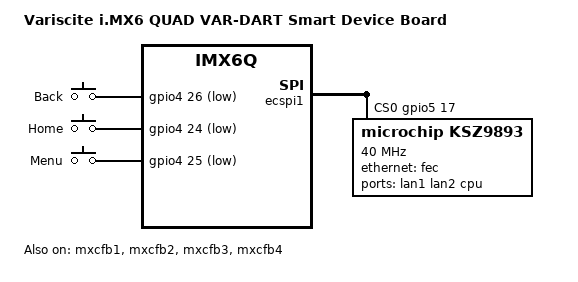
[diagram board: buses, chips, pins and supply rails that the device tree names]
/*
 * Copyright (C) 2015-2017 Variscite Ltd.
 *
 * This program is free software; you can redistribute it and/or modify
 * it under the terms of the GNU General Public License version 2 as
 * published by the Free Software Foundation.
 */

/dts-v1/;

#include "imx6q.dtsi"
#include "imx6qdl-iris2.dtsi"
#include "imx6qdl-var-solocb-dt6cb-displays.dtsi"

/ {
	model = "Variscite i.MX6 QUAD VAR-DART Smart Device Board";
	compatible = "fsl,imx6q-var-dart", "fsl,imx6q";

	gpio-keys {
		compatible = "gpio-keys";
		back {
			label = "Back";
			gpios = <&gpio4 26 1>;
			linux,code = <KEY_BACK>;
			gpio-key,wakeup;
		};
		home {
			label = "Home";
			gpios = <&gpio4 24 1>;
			linux,code = <KEY_HOMEPAGE>;
			gpio-key,wakeup;
		};
		menu {
			label = "Menu";
			gpios = <&gpio4 25 1>;
			linux,code = <KEY_MENU>;
			gpio-key,wakeup;
		};
	};
};

&cpu0 {
	operating-points = <
		/* kHz    uV */
		1200000	1350000
		996000	1250000
		852000	1250000
		792000	1175000
		396000	1175000
	>;
	fsl,soc-operating-points = <
		/* ARM kHz  SOC-PU uV */
		1200000	1275000
		996000	1250000
		852000	1250000
		792000	1250000
		396000	1250000
	>;
};

&ecspi1 {
	fsl,spi-num-chipselects = <1>;
	cs-gpios = <&gpio5 17 0>;
	pinctrl-names = "default";
	pinctrl-0 = <&pinctrl_ecspi1>;
	status = "okay";

	ksz9893: ksz9893@0 {
		compatible = "microchip,ksz9893";
		reg = <0>;
		spi-max-frequency = <40000000>;
		spi-cpha;
		spi-cpol;
		status = "okay";
		ports {
			#address-cells = <1>;
			#size-cells = <0>;
			port@0 {
				reg = <0>;
				label = "lan1";
			};
			port@1 {
				reg = <1>;
				label = "lan2";
			};
			port@2 {
				reg = <2>;
				label = "cpu";
				ethernet = <&fec>;
				fixed-link {
					speed = <1000>;
					full-duplex;
				};
			};
		};
	};
};

&ldb {
	lvds-channel@0 {
		crtc = "ipu2-di0";
	};

	lvds-channel@1 {
		crtc = "ipu2-di1";
	};
};

&touch {
	interrupt-parent = <&gpio1>;
	interrupts = <4 0>;
};

&mxcfb1 {
	status = "okay";
};

&mxcfb2 {
	status = "okay";
};

&mxcfb3 {
	status = "okay";
};

&mxcfb4 {
	status = "okay";
};

&sata {
	status = "disabled";
};
